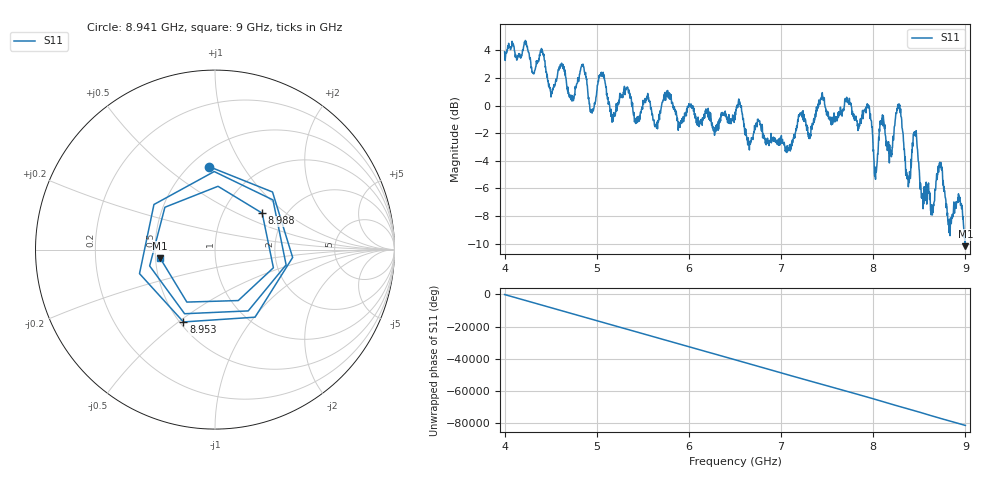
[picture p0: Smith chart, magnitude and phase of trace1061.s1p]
! Created with skrf 1.8.0 (http://scikit-rf.org).
# Hz S RI R 50.0
!freq ReS11 ImS11
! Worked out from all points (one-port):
!   1601 points, 4 GHz to 9 GHz, reference 50 ohm
!   lowest |S11| = -10.2 dB at 9 GHz (marker M1), VSWR 1.90, Z = 26.5 - j2.78 ohm
!   |S11| at or under -10 dB: 8.99355 GHz to 8.994647 GHz (1.097 MHz wide, 0.0122 % of centre); 8.999059 GHz to end of sweep
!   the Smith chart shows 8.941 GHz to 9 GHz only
!   S11 on the Smith chart (normalised r, x): 8.941 GHz: 0.61, +0.72; 8.953 GHz: 0.52, -0.52; 8.988 GHz: 1.52, +0.69; 9 GHz: 0.53, -0.06
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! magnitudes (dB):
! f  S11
! 4 GHz  3.9
! 4.403 GHz  3.9
! 4.506 GHz  0.9
! 4.625 GHz  2.9
! 4.728 GHz  0.7
! 4.853 GHz  3.0
! 4.947 GHz  -0.5
! 5.047 GHz  2.1
! 5.25 GHz  0.9
! 5.875 GHz  -0.9
! 6.5 GHz  -0.7
! 7.125 GHz  -2.7
! 7.75 GHz  0.2
! 7.95 GHz  0.0
! 8.025 GHz  -5.3
! 8.091 GHz  -1.1
! 8.184 GHz  -3.5
! 8.281 GHz  0.1
! 8.375 GHz  -5.3
! 8.45 GHz  -2.0
! 8.544 GHz  -6.7
! 8.644 GHz  -7.6
! 8.725 GHz  -4.5
! 8.828 GHz  -8.8
! 8.941 GHz  -6.7
! 8.953 GHz  -7.1
! 8.988 GHz  -9.6
! 9 GHz  -10.2
